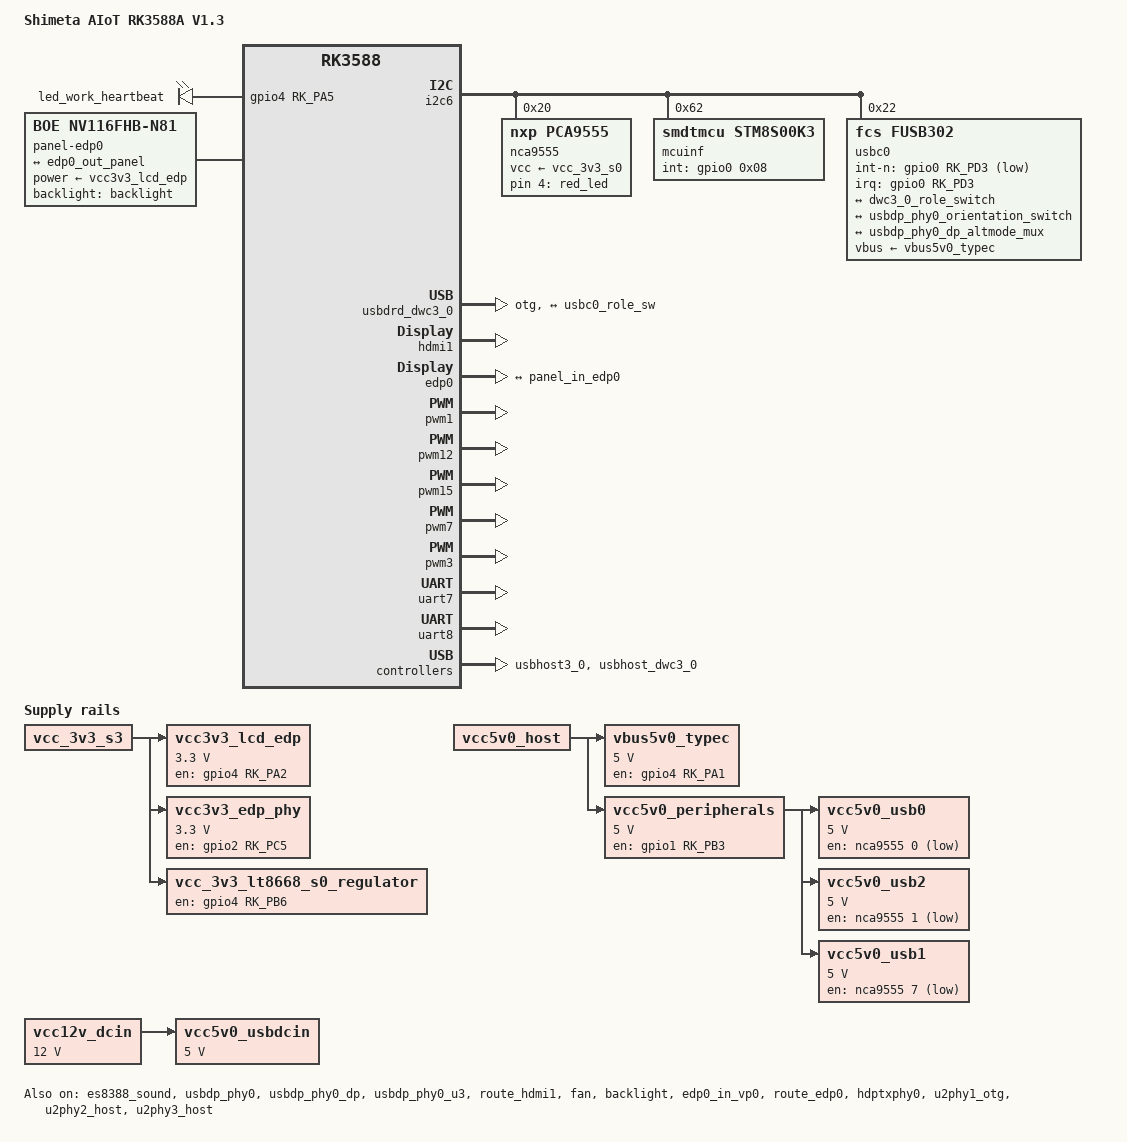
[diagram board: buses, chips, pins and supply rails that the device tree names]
// SPDX-License-Identifier: (GPL-2.0+ OR MIT)
/*
 * Copyright (c) 2021 Rockchip Electronics Co., Ltd.
 *
 */

/dts-v1/;

#include "rk3588-evb7-lp4.dtsi"
#include "rk3588-android.dtsi"

/ {
	model = "Shimeta AIoT RK3588A V1.3";
	compatible = "rockchip,rk3588-aiot-rk3588a-v1.3", "rockchip,rk3588";

	/delete-node/ chosen;
	/delete-node/ leds;

	chosen {
		bootargs = "earlycon=uart8250,mmio32,0xfeb50000 console=ttyFIQ0 irqchip.gicv3_pseudo_nmi=0";
	};

	reserved-memory {
                #address-cells = <2>;
                #size-cells = <2>;
                ranges;

                /* 必须添加：保护 OP-TEE v1.20 的内存不被 U-Boot 或 Kernel 覆盖 */
                optee@8400000 {
                    reg = <0x0 0x08400000 0x0 0x02000000>;
                    no-map;
                };
        };

	gpio_leds: gpio-leds {
		compatible = "gpio-leds";
		led_work_heartbeat: work_heartbeat {
			linux,default-trigger = "heartbeat";
			gpios = <&gpio4 RK_PA5 GPIO_ACTIVE_HIGH>;
		};
		red_led: red_led {
			linux,default-trigger = "none";
			gpios = <&nca9555 4 GPIO_ACTIVE_HIGH>;
		};
	};

	panel-edp0 {
		compatible = "BOE NV116FHB-N81";
		status = "okay";
		connector-type = <15>;  // 添加这一行 (15 代表 eDP)
		backlight = <&backlight>;
		power-supply = <&vcc3v3_lcd_edp>;
		prepare-delay-ms = <120>;
		enable-delay-ms = <120>;
		unprepare-delay-ms = <120>;
		disable-delay-ms = <120>;
		width-mm = <129>;  // 0x81
		height-mm = <171>; // 0xab

		panel-timing {
			/* 提升到标准频率 */
			clock-frequency = <148500000>;
			hactive = <1920>;      // 0x780
			vactive = <1080>;      // 0x438
			/* 水平总和：1920 + 88 + 44 + 148 = 2200 */
			hfront-porch = <88>;
			hsync-len = <44>;
			hback-porch = <148>;
			/* 垂直总和：1080 + 4 + 5 + 36 = 1125 */
			vfront-porch = <4>;   // 建议改小，匹配标准 1080p 序列
			vsync-len = <5>;      // 建议 5
			vback-porch = <36>;   // 建议 36
			/* 计算：148,500,000 / (2200 * 1125) = 刚好 60.00Hz */
		};

		port {
			panel_in_edp0: endpoint {
				remote-endpoint = <&edp0_out_panel>;
			};
		};
	};

	vcc3v3_lcd_edp: vcc3v3-lcd-edp {
		compatible = "regulator-fixed";
		regulator-name = "vcc3v3_lcd_edp";
		regulator-min-microvolt = <3300000>;
		regulator-max-microvolt = <3300000>;
		enable-active-high;
		gpio = <&gpio4 RK_PA2 GPIO_ACTIVE_HIGH>;
		regulator-boot-on;
		regulator-always-on;
		vin-supply = <&vcc_3v3_s3>;
	};

	vcc3v3_edp_phy: vcc3v3-edp-phy {
		compatible = "regulator-fixed";
		regulator-name = "vcc3v3_edp_phy";
		regulator-min-microvolt = <3300000>;
		regulator-max-microvolt = <3300000>;
		enable-active-high;
		regulator-boot-on;
		regulator-always-on;
		gpio = <&gpio2 RK_PC5 GPIO_ACTIVE_HIGH>;
		pinctrl-names = "default";
		pinctrl-0 = <&backlight_edp>;
		vin-supply = <&vcc_3v3_s3>;
	};

	vbus5v0_typec: vbus5v0-typec {
		compatible = "regulator-fixed";
		regulator-name = "vbus5v0_typec";
		regulator-min-microvolt = <5000000>;
		regulator-max-microvolt = <5000000>;
		enable-active-high;
		gpio = <&gpio4 RK_PA1 GPIO_ACTIVE_HIGH>;
		vin-supply = <&vcc5v0_host>;
		pinctrl-names = "default";
		pinctrl-0 = <&typec5v_pwren>;
	};

	vcc5v0_peripherals:vcc5v0-peripherals {
		compatible = "regulator-fixed";
		regulator-name = "vcc5v0_peripherals";
		regulator-boot-on;
		regulator-always-on;
		gpio = <&gpio1 RK_PB3 GPIO_ACTIVE_HIGH>;
		enable-active-high;
		regulator-min-microvolt = <5000000>;
		regulator-max-microvolt = <5000000>;
		vin-supply = <&vcc5v0_host>;
	};

	vcc5v0_usb0:vcc5v0-usb0 {
		compatible = "regulator-fixed";
		regulator-name = "vcc5v0_usb0";
		regulator-always-on;
		regulator-boot-on;
		gpio = <&nca9555 0 GPIO_ACTIVE_HIGH>;
		regulator-min-microvolt = <5000000>;
		regulator-max-microvolt = <5000000>;
		vin-supply = <&vcc5v0_peripherals>;
	};


	vcc5v0_usb2: vcc5v0-usb2 {
		compatible = "regulator-fixed";
		regulator-name = "vcc5v0_usb2";
		regulator-min-microvolt = <5000000>;
		regulator-max-microvolt = <5000000>;
		regulator-always-on;
		regulator-boot-on;
		gpio = <&nca9555 1 GPIO_ACTIVE_HIGH>;
		vin-supply = <&vcc5v0_peripherals>;
	};

	vcc5v0_usb1: vcc5v0-usb1 {
		compatible = "regulator-fixed";
		regulator-name = "vcc5v0_usb1";
		regulator-min-microvolt = <5000000>;
		regulator-max-microvolt = <5000000>;
		regulator-always-on;
		regulator-boot-on;
		gpio = <&nca9555 7 GPIO_ACTIVE_HIGH>;
		vin-supply = <&vcc5v0_peripherals>;
	};

	vcc5v0_usbdcin:vcc5v0-usbdcin {
		compatible = "regulator-fixed";
		regulator-name = "vcc5v0_usbdcin";
		regulator-always-on;
		regulator-boot-on;
		regulator-min-microvolt = <0x4c4b40>;
		regulator-max-microvolt = <0x4c4b40>;
		vin-supply = <&vcc12v_dcin>;
	};

	vcc12v_dcin:vcc12v-dcin {
		compatible = "regulator-fixed";
		regulator-name = "vcc12v_dcin";
		regulator-always-on;
		regulator-boot-on;
		regulator-min-microvolt = <0xb71b00>;
		regulator-max-microvolt = <0xb71b00>;
	};

	vcc_3v3_lt8668_s0_regulator:vcc-3v3-lt8668-s0-regulator {
		compatible = "regulator-fixed";
		regulator-name = "vcc_3v3_lt8668_s0";
		pinctrl-names = "default";
		pinctrl-0 = <&lt8668_pwr>;
		gpio = <&gpio4 RK_PB6 GPIO_ACTIVE_HIGH>;
		enable-active-high;
		regulator-boot-on;
		regulator-always-on;
		vin-supply = <&vcc_3v3_s3>;
	};

	test-power {
		status = "okay";
	};
};

&icm42607_acc {
	status = "disabled";
};

&vcc5v0_host {
	gpio = <&gpio3 RK_PD5 GPIO_ACTIVE_HIGH>;
	pinctrl-0 = <&vcc5v0_peripherals_en>;
};

&vcc_mipidcphy0 {
	status = "disabled";
	/delete-property/ enable-active-high;
	/delete-property/ gpio;
	/delete-property/ pinctrl-names ;
	/delete-property/ pinctrl-0;
};

&vcc3v3_pcie30 {
	gpios = <&gpio1 RK_PA4 GPIO_ACTIVE_HIGH>;
	regulator-always-on;
	regulator-boot-on;
};

&vcc3v3_lcd_n {
	/delete-property/ gpio;
};

&wireless_bluetooth{
		pinctrl-names = "default", "rts_gpio";
		pinctrl-0 = <&uart9m0_rtsn>, <&bt_reset_gpio>, <&bt_wake_gpio>, <&bt_irq_gpio>;
		pinctrl-1 = <&uart9_gpios_fix>;
};


&pinctrl {

	/* 蓝牙相关引脚定义 */
	wireless-bluetooth {
		uart9_gpios_fix: uart9-gpios {
			rockchip,pins = <4 RK_PC4 RK_FUNC_GPIO &pcfg_pull_none>;
		};
	};


	headphone {
		hp_det_fix:hp-det-fix {
			rockchip,pins = <4 RK_PC2 RK_FUNC_GPIO &pcfg_pull_none>;
		};
	};

	smdtio {
		smdtio_gpio:smdtio-gpio {
			rockchip,pins = <1 0x16 RK_FUNC_GPIO &pcfg_pull_up>,
					<1 0x08 RK_FUNC_GPIO &pcfg_pull_up>,
					<1 0x0d RK_FUNC_GPIO &pcfg_pull_up>,
					<1 0x0c RK_FUNC_GPIO &pcfg_pull_up>,
					<4 0x0a RK_FUNC_GPIO &pcfg_pull_up>;
		};
	};

	usb-typec {
		usbc0_int: usbc0-int {
			rockchip,pins = <0 RK_PD3 RK_FUNC_GPIO &pcfg_pull_up>;
		};

		typec5v_pwren: typec5v-pwren {
			rockchip,pins =
				<4 RK_PA1 RK_FUNC_GPIO &pcfg_pull_up>;
		};
	};

	usb {
		vcc5v0_peripherals_en: vcc5v0-peripherals-en {
			rockchip,pins =
				<3 RK_PD5 RK_FUNC_GPIO &pcfg_pull_none>;
		};
	};

	lt8668 {
		lt8668_pwr:lt8668-pwr {
			rockchip,pins = <4 RK_PB6 RK_FUNC_GPIO &pcfg_pull_up>;
		};
	};

	backlight {
		backlight_edp: backlight-edp {
			rockchip,pins = <2 RK_PC5 RK_FUNC_GPIO &pcfg_pull_up>;
		};
	};
	panel {
		panel_en_pin: panel-en-pin {
			/* 将 GPIO4_A2 配置为无上下拉的 GPIO 功能 */
			rockchip,pins = <4 RK_PA2 RK_FUNC_GPIO &pcfg_pull_none>;
		};
	};
};
/** 关闭这个节点防止冲突 */
&gt1x {
	status = "disabled";
};

/** 修改成为正确的GPIO */
&es8388_sound {
	/delete-property/ hp-con-gpio;
	pinctrl-names = "default";
	pinctrl-0 = <&hp_det_fix>;
	hp-stat = <0>;
	spk-con-gpio = <&gpio4 RK_PA3 GPIO_ACTIVE_LOW>;
	hp-det-gpio = <&gpio4 RK_PC2 GPIO_ACTIVE_HIGH>;
	status = "okay";
};

&hym8563 {
	/delete-property/ pinctrl-names;
	/delete-property/ pinctrl-0;
	/delete-property/ interrupt-parent;
	/delete-property/ interrupts;
};

&gmac1 {
	snps,reset-gpios = <&gpio3 RK_PB7 GPIO_ACTIVE_LOW>;
};

&i2c6 {
	status = "okay";

	nca9555: nca9555@20  {
		reg = <0x20>;
		compatible = "nxp,pca9555";
		status = "okay";
		gpio-controller;
		vcc-supply = <&vcc_3v3_s0>;
		#gpio-cells = <2>;
	};

	mcuinf: mcuinf@62 {
		compatible = "smdtmcu,STM8S00K3";
		status = "okay";
		int-gpio = <&gpio0 0x08 0x04>;
		reg = <0x62>;
		#pwm-cells = <2>;
	};

	usbc0: fusb302@22 {
		compatible = "fcs,fusb302";
		reg = <0x22>;
		interrupt-parent = <&gpio0>;
		interrupts = <RK_PD3 IRQ_TYPE_EDGE_FALLING>;
		int-n-gpios = <&gpio0 RK_PD3 GPIO_ACTIVE_LOW>;
		pinctrl-names = "default";
		pinctrl-0 = <&usbc0_int>;
		vbus-supply = <&vbus5v0_typec>;
		status = "okay";

		ports {
			#address-cells = <1>;
			#size-cells = <0>;

			port@0 {
				reg = <0>;
				usbc0_role_sw: endpoint@0 {
					remote-endpoint = <&dwc3_0_role_switch>;
				};
			};
		};

		usb_con: connector {
			compatible = "usb-c-connector";
			label = "USB-C";
			data-role = "dual";
			power-role = "dual";
			try-power-role = "sink";
			op-sink-microwatt = <1000000>;
			sink-pdos =
				<PDO_FIXED(5000, 3000, PDO_FIXED_USB_COMM)>;
			source-pdos =
				<PDO_FIXED(5000, 2000, PDO_FIXED_USB_COMM)>;

			altmodes {
				#address-cells = <1>;
				#size-cells = <0>;

				altmode@0 {
					reg = <0>;
					svid = <0xff01>;
					vdo = <0xffffffff>;
				};
			};

			ports {
				#address-cells = <1>;
				#size-cells = <0>;

				port@0 {
					reg = <0>;
					usbc0_orien_sw: endpoint {
						remote-endpoint = <&usbdp_phy0_orientation_switch>;
					};
				};

				port@1 {
					reg = <1>;
					dp_altmode_mux: endpoint {
						remote-endpoint = <&usbdp_phy0_dp_altmode_mux>;
					};
				};
			};
		};
	};

};

&usbdrd_dwc3_0 {
	dr_mode = "otg";
	usb-role-switch;
	status = "okay";

	port {
		#address-cells = <1>;
		#size-cells = <0>;
		dwc3_0_role_switch: endpoint@0 {
			reg = <0>;
			remote-endpoint = <&usbc0_role_sw>;
		};
	};
};

&usbdp_phy0 {
	orientation-switch;
	rockchip,dp-lane-mux = <0 1 2 3 >;
	svid = <0xff01>;
	sbu1-dc-gpios = <&gpio4 RK_PA6 GPIO_ACTIVE_HIGH>;
	sbu2-dc-gpios = <&gpio4 RK_PA7 GPIO_ACTIVE_HIGH>;
	status = "okay";

	port {
		#address-cells = <1>;
		#size-cells = <0>;
		usbdp_phy0_orientation_switch: endpoint@0 {
			reg = <0>;
			remote-endpoint = <&usbc0_orien_sw>;
		};

		usbdp_phy0_dp_altmode_mux: endpoint@1 {
			reg = <1>;
			remote-endpoint = <&dp_altmode_mux>;
		};
	};
};

&usbdp_phy0_dp {
	status = "okay";
};

&usbdp_phy0_u3 {
	status = "okay";
};

&dp0 {
	status = "disabled";
};


/** HDMI 0 不使用 */
&hdmi0 {
	status = "disabled";
};

&route_hdmi0 {
	status = "disabled";
};


&hdptxphy_hdmi0 {
	status = "disabled";
};

&hdmi0_sound {
	status = "disabled";
};

&hdmi0_in_vp0 {
	status = "disabled";
};

&hdmi1 {
	enable-gpios = <&gpio4 RK_PA0 GPIO_ACTIVE_HIGH>;
	status = "okay";
};


&route_hdmi1 {
	status = "okay";
};

&dp1 {
	status = "disabled";
};

&vop {
    assigned-clocks = <&cru DCLK_VOP0>;
    /* 强制 DCLK_VOP0 使用 GPLL */
    assigned-clock-parents = <&cru PLL_GPLL>;
};

&edp0 {
	force-hpd;
	power-supply = <&vcc3v3_edp_phy>;
	status = "okay";
	ports {
		port@0 {
			reg = <0>;

			edp0_out_panel: endpoint {
				remote-endpoint = <&panel_in_edp0>;
			};
		};
	};
};

&pwm1 {
	pinctrl-0 = <&pwm1m0_pins>;
	status = "okay";
};

&fan {
	status = "okay";
	compatible = "pwm-fan";
	#cooling-cells = <2>;
	pwms = <&pwm12 0 50000 0>;
	cooling-levels = <0 50 100 150 200 255>;
	rockchip,temp-trips = <
		50000	1
		55000	2
		60000	3
		65000	4
		70000	5
	>;
};


&pwm12 {
	pinctrl-names = "active";
	pinctrl-0 = <&pwm12m1_pins>;
	status = "okay";
};

&pwm15 {
	pinctrl-names = "active";
	pinctrl-0 = <&pwm15m1_pins>;
	status = "okay";
};

&pwm7 {
	pinctrl-names = "active";
	pinctrl-0 = <&pwm7m3_pins>;
	status = "okay";
};

&pwm3 {
	pinctrl-names = "active";
	pinctrl-0 = <&pwm3m3_pins>;
	status = "okay";
};


&backlight {
	backlight_delayms = <10>;        /* 0x0a = 10ms */
	type = "pwm";
	pwms = <&pwm1 0 25000 0>;         /* 0x61a8 = 25000 ns (即 40kHz) */
	enable-gpios = <&gpio2 RK_PC1 GPIO_ACTIVE_HIGH>;
	status = "okay";
	power-supply = <&vcc3v3_lcd_edp>;

};

&edp1 {
	status = "disabled";
};

&edp0_in_vp0 {
	status = "okay";
};

&route_edp0 {
	connect = <&vp0_out_edp0>;
	status = "okay";
};

&hdptxphy0 {
	status = "okay";
};

&dp0_in_vp2 {
	status = "disabled";
};

&dp1_in_vp2 {
	status = "disabled";
};

&dsi0 {
	status = "disabled";
};

&uart7{
	pinctrl-0 = <&uart7m0_xfer>;
	status = "okay";
};

&uart8{
	pinctrl-0 = <&uart8m0_xfer>;
	status = "okay";
};

/** not pcie
 **
 **/

&pcie2x1l0 {
	status = "disabled";
};

&pcie30phy {
	status = "disabled";
};

&pcie3x4 {
	status = "disabled";
};

&u2phy1_otg {
	vbus-supply = <&vbus5v0_typec>;
	status = "okay";
};

&u2phy2_host {
	status = "okay";
};

&u2phy3_host {
	status = "okay";
};

&usbhost3_0{
	status = "okay";
};

&usbhost_dwc3_0 {
	status = "okay";
};

&i2c2 {
	status = "disabled";
};

&i2c3 {
	status = "disabled";
};

&i2c4 {
	status = "disabled";
};

&i2s5_8ch{
	status = "disabled";
};
